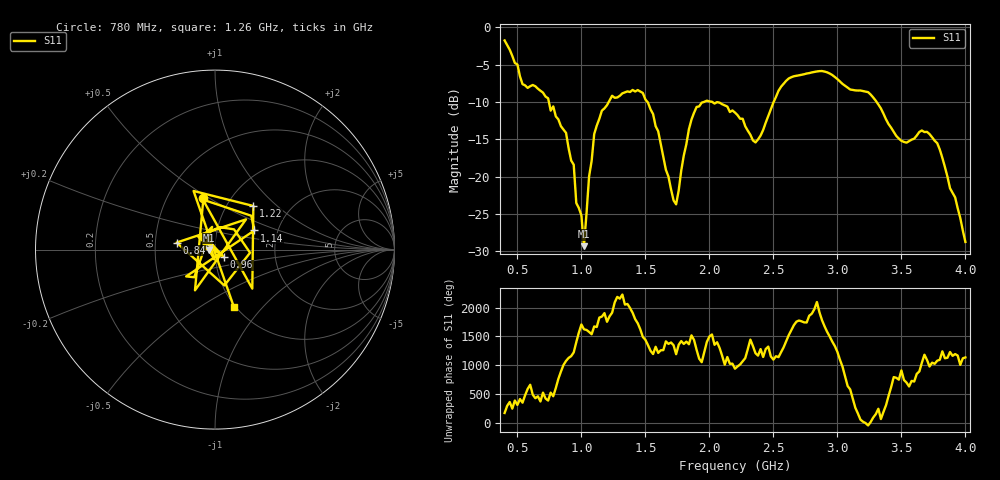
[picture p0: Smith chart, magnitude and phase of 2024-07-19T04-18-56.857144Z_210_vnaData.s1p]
!Created with skrf (http://scikit-rf.org).
# Hz S RI R 50.0
!freq ReS11 ImS11
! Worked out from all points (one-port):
!   181 points, 400 MHz to 4 GHz, reference 50 ohm
!   lowest |S11| = -29.3 dB at 1.02 GHz (marker M1), VSWR 1.07, Z = 46.7 - j0.183 ohm
!   |S11| at or under -10 dB: 745.9 MHz to 1.214 GHz (467.8 MHz wide, 47.7 % of centre); 2.022 GHz to 2.502 GHz (480.4 MHz wide, 21.2 % of centre); 3.306 GHz to end of sweep (the widest 3 of 4)
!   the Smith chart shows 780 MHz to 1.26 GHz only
!   S11 on the Smith chart (normalised r, x): 780 MHz: 0.75, +0.47; 840 MHz: 0.65, +0.05; 960 MHz: 1.10, -0.10; 1.14 GHz: 1.51, +0.34; 1.22 GHz: 1.32, +0.72; 1.26 GHz: 0.98, -0.71
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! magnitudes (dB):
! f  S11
! 400 MHz  -1.8
! 540 MHz  -7.6
! 780 MHz  -10.6
! 840 MHz  -13.3
! 860 MHz  -13.7
! 940 MHz  -18.4
! 960 MHz  -23.5
! 1 GHz  -25.2
! 1.02 GHz  -29.3
! 1.06 GHz  -20.0
! 1.1 GHz  -14.3
! 1.14 GHz  -12.3
! 1.22 GHz  -9.8
! 1.26 GHz  -9.4
! 1.3 GHz  -9.2
! 1.48 GHz  -8.8
! 1.6 GHz  -13.9
! 1.72 GHz  -23.2
! 1.76 GHz  -21.9
! 1.84 GHz  -13.6
! 1.9 GHz  -10.7
! 2.2 GHz  -11.4
! 2.36 GHz  -15.4
! 2.66 GHz  -6.6
! 3.1 GHz  -8.3
! 3.56 GHz  -15.2
! 3.78 GHz  -15.5
! 4 GHz  -28.7
